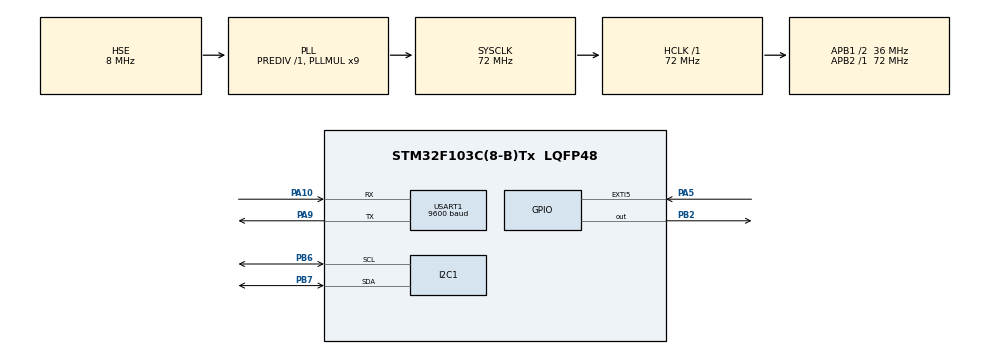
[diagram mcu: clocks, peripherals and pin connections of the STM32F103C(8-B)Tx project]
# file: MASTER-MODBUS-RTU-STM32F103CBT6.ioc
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Dma.Request0=USART1_RX
Dma.USART1_RX.0.Direction=DMA_PERIPH_TO_MEMORY
Dma.USART1_RX.0.Instance=DMA1_Channel5
Dma.USART1_RX.0.MemDataAlignment=DMA_MDATAALIGN_BYTE
Dma.USART1_RX.0.MemInc=DMA_MINC_ENABLE
Dma.USART1_RX.0.Mode=DMA_NORMAL
Dma.USART1_RX.0.PeriphDataAlignment=DMA_PDATAALIGN_BYTE
Dma.USART1_RX.0.PeriphInc=DMA_PINC_DISABLE
Dma.USART1_RX.0.Priority=DMA_PRIORITY_LOW
Mcu.Family=STM32F1
Mcu.Name=STM32F103C(8-B)Tx
Mcu.Package=LQFP48
NVIC.DMA1_Channel5_IRQn=true\:1\:0\:true\:false\:true\:false\:true\:true
NVIC.EXTI9_5_IRQn=true\:2\:0\:true\:false\:true\:true\:true\:true
NVIC.PriorityGroup=NVIC_PRIORITYGROUP_4
NVIC.TIM1_UP_IRQn=true\:4\:0\:true\:false\:true\:true\:true\:true
NVIC.TIM2_IRQn=true\:3\:0\:true\:false\:true\:true\:true\:true
NVIC.USART1_IRQn=true\:5\:0\:true\:false\:true\:true\:true\:true
PA10.Mode=Asynchronous
PA10.Signal=USART1_RX
PA13.Mode=Serial_Wire
PA13.Signal=SYS_JTMS-SWDIO
PA14.Mode=Serial_Wire
PA14.Signal=SYS_JTCK-SWCLK
PA5.GPIO_ModeDefaultEXTI=GPIO_MODE_IT_FALLING
PA5.GPIO_PuPd=GPIO_PULLUP
PA5.Signal=GPXTI5
PA9.Mode=Asynchronous
PA9.Signal=USART1_TX
PB2.GPIO_Speed=GPIO_SPEED_FREQ_LOW
PB2.Signal=GPIO_Output
PB6.Mode=I2C
PB6.Signal=I2C1_SCL
PB7.Mode=I2C
PB7.Signal=I2C1_SDA
PD0-OSC_IN.Mode=HSE-External-Oscillator
PD0-OSC_IN.Signal=RCC_OSC_IN
PD1-OSC_OUT.Mode=HSE-External-Oscillator
PD1-OSC_OUT.Signal=RCC_OSC_OUT
ProjectManager.HeapSize=0x200
ProjectManager.StackSize=0x400
ProjectManager.TargetToolchain=CMake
RCC.AHBFreq_Value=72000000
RCC.APB1CLKDivider=RCC_HCLK_DIV2
RCC.APB1Freq_Value=36000000
RCC.APB1TimFreq_Value=72000000
RCC.APB2Freq_Value=72000000
RCC.APB2TimFreq_Value=72000000
RCC.HCLKFreq_Value=72000000
RCC.PLLMUL=RCC_PLL_MUL9
RCC.PLLSourceVirtual=RCC_PLLSOURCE_HSE
RCC.SYSCLKFreq_VALUE=72000000
RCC.SYSCLKSource=RCC_SYSCLKSOURCE_PLLCLK
RCC.USBFreq_Value=72000000
TIM1.Period=20000
TIM1.Prescaler=36000
TIM2.Period=20000
TIM2.Prescaler=36000
USART1.BaudRate=9600
USART1.VirtualMode=VM_ASYNC
VP_TIM1_VS_ClockSourceINT.Mode=Internal
VP_TIM2_VS_ClockSourceINT.Mode=Internal
board=custom

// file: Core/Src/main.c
/* USER CODE BEGIN Header */
/**
  ******************************************************************************
  * @file           : main.c
  * @brief          : Main program body
  ******************************************************************************
  * @attention
  *
  * Copyright (c) 2026 STMicroelectronics.
  * All rights reserved.
  *
  * This software is licensed under terms that can be found in the LICENSE file
  * in the root directory of this software component.
  * If no LICENSE file comes with this software, it is provided AS-IS.
  *
  ******************************************************************************
  */
/* USER CODE END Header */
#include "main.h"
#include "dma.h"
#include "i2c.h"
#include "tim.h"
#include "usart.h"
#include "gpio.h"

/* USER CODE BEGIN Includes */
#include "ssd1306.h"
#include "ssd1306_conf_template.h"
#include "ssd1306_fonts.h"
#include "ssd1306_tests.h"
#include "ssd1306_temp_and_humidity_display.h"
#include "master_func_03.h"
#include "read_val.h"
/* USER CODE END Includes */

void SystemClock_Config(void);

/* USER CODE BEGIN 0 */
volatile uint32_t irq_count = 0;

volatile uint8_t received_frame[9];

volatile Sensor_Data_t es35;
/* USER CODE END 0 */

int main(void)
{

  /* MCU Configuration--------------------------------------------------------*/

  /* Reset of all peripherals, Initializes the Flash interface and the Systick. */
  HAL_Init();

  /* Configure the system clock */
  SystemClock_Config();

  /* Initialize all configured peripherals */
  MX_GPIO_Init();
  MX_DMA_Init();
  MX_I2C1_Init();
  MX_TIM1_Init();
  MX_TIM2_Init();
  MX_USART1_UART_Init();
  /* USER CODE BEGIN 2 */

  HAL_TIM_Base_Start_IT(&htim1);

  /* USER CODE END 2 */

  /* Infinite loop */
  /* USER CODE BEGIN WHILE */
  while (1)
  {
    /*
    uint8_t frame[8];
    frame[0] = 0x00;
    frame[1] = 0x03;
    frame[2] = 0x00;
    frame[3] = 0x00;
    frame[4] = 0x00;
    frame[5] = 0x02;

    uint16_t crc = mb_crc16(frame, 6);
    frame[6] = crc & 0xFF;
    frame[7] = (crc >> 8) & 0xFF;

    HAL_UART_Transmit(&huart1, frame, sizeof(frame), 12);

    HAL_UART_Receive_DMA(&huart1, received_frame, 9);

    HAL_Delay(10000);
    */

    //master_func_03(0x01, 0x03, 0x0000, 0x0002, received_frame, sizeof(received_frame));

    SysTick->CTRL &= ~SysTick_CTRL_TICKINT_Msk;

    __WFI();

    SysTick->CTRL |= SysTick_CTRL_TICKINT_Msk;
    /* USER CODE END WHILE */

  }
}

void SystemClock_Config(void)
{
  RCC_OscInitTypeDef RCC_OscInitStruct = {0};
  RCC_ClkInitTypeDef RCC_ClkInitStruct = {0};

  /** Initializes the RCC Oscillators according to the specified parameters
  * in the RCC_OscInitTypeDef structure.
  */
  RCC_OscInitStruct.OscillatorType = RCC_OSCILLATORTYPE_HSE;
  RCC_OscInitStruct.HSEState = RCC_HSE_ON;
  RCC_OscInitStruct.HSEPredivValue = RCC_HSE_PREDIV_DIV1;
  RCC_OscInitStruct.HSIState = RCC_HSI_ON;
  RCC_OscInitStruct.PLL.PLLState = RCC_PLL_ON;
  RCC_OscInitStruct.PLL.PLLSource = RCC_PLLSOURCE_HSE;
  RCC_OscInitStruct.PLL.PLLMUL = RCC_PLL_MUL9;
  if (HAL_RCC_OscConfig(&RCC_OscInitStruct) != HAL_OK)
  {
    Error_Handler();
  }

  /** Initializes the CPU, AHB and APB buses clocks
  */
  RCC_ClkInitStruct.ClockType = RCC_CLOCKTYPE_HCLK|RCC_CLOCKTYPE_SYSCLK
                              |RCC_CLOCKTYPE_PCLK1|RCC_CLOCKTYPE_PCLK2;
  RCC_ClkInitStruct.SYSCLKSource = RCC_SYSCLKSOURCE_PLLCLK;
  RCC_ClkInitStruct.AHBCLKDivider = RCC_SYSCLK_DIV1;
  RCC_ClkInitStruct.APB1CLKDivider = RCC_HCLK_DIV2;
  RCC_ClkInitStruct.APB2CLKDivider = RCC_HCLK_DIV1;

  if (HAL_RCC_ClockConfig(&RCC_ClkInitStruct, FLASH_LATENCY_2) != HAL_OK)
  {
    Error_Handler();
  }
}

/* USER CODE BEGIN 4 */
//volatile uint32_t irq_count = 0;

//volatile uint8_t received_frame[9];

//volatile Sensor_Data_t es35;

void HAL_TIM_PeriodElapsedCallback(TIM_HandleTypeDef *htim)
  {
    if (htim->Instance == TIM1)
    {
      irq_count++;

      HAL_GPIO_TogglePin(GPIOB, GPIO_PIN_2); //using to noti if interrupt happen

      master_func_03(0x01, 0x03, 0x0000, 0x0002, received_frame, sizeof(received_frame));

      //ssd1306_temp_and_humidity_display(es35.temp, es35.humid);
    }
  }

void HAL_UART_RxCpltCallback(UART_HandleTypeDef *huart)
{
    if (huart->Instance == USART1)
    {
        es35 = read_val(received_frame, sizeof(received_frame));

        ssd1306_temp_and_humidity_display(es35.temp, es35.humid);
    }
}

/* USER CODE END 4 */

void Error_Handler(void)
{
  __disable_irq();
  while (1)
  {
  }
}
